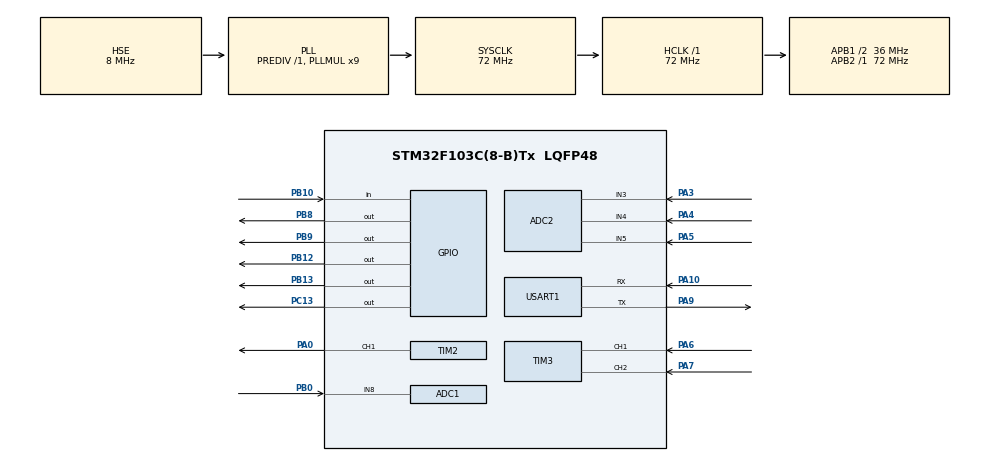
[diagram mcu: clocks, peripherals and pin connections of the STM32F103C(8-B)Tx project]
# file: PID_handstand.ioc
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ADC1.Channel-0\#ChannelRegularConversion=ADC_CHANNEL_8
ADC1.NbrOfConversionFlag=1
ADC1.Rank-0\#ChannelRegularConversion=1
ADC1.SamplingTime-0\#ChannelRegularConversion=ADC_SAMPLETIME_55CYCLES_5
ADC1.master=1
ADC2.Channel-0\#ChannelRegularConversion=ADC_CHANNEL_3
ADC2.NbrOfConversionFlag=1
ADC2.Rank-0\#ChannelRegularConversion=1
ADC2.SamplingTime-0\#ChannelRegularConversion=ADC_SAMPLETIME_55CYCLES_5
Mcu.Family=STM32F1
Mcu.Name=STM32F103C(8-B)Tx
Mcu.Package=LQFP48
NVIC.PriorityGroup=NVIC_PRIORITYGROUP_4
NVIC.TIM4_IRQn=true\:0\:0\:false\:false\:true\:true\:true\:true
PA0-WKUP.Signal=S_TIM2_CH1_ETR
PA10.Mode=Asynchronous
PA10.Signal=USART1_RX
PA13.Mode=Serial_Wire
PA13.Signal=SYS_JTMS-SWDIO
PA14.Mode=Serial_Wire
PA14.Signal=SYS_JTCK-SWCLK
PA3.Signal=ADCx_IN3
PA4.Signal=ADCx_IN4
PA5.Signal=ADCx_IN5
PA6.Signal=S_TIM3_CH1
PA7.Signal=S_TIM3_CH2
PA9.Mode=Asynchronous
PA9.Signal=USART1_TX
PB0.Signal=ADCx_IN8
PB10.GPIO_PuPd=GPIO_PULLUP
PB10.Signal=GPIO_Input
PB12.GPIO_ModeDefaultOutputPP=GPIO_MODE_OUTPUT_PP
PB12.GPIO_PuPd=GPIO_NOPULL
PB12.GPIO_Speed=GPIO_SPEED_FREQ_HIGH
PB12.PinState=GPIO_PIN_RESET
PB12.Signal=GPIO_Output
PB13.GPIO_ModeDefaultOutputPP=GPIO_MODE_OUTPUT_PP
PB13.GPIO_PuPd=GPIO_NOPULL
PB13.GPIO_Speed=GPIO_SPEED_FREQ_HIGH
PB13.PinState=GPIO_PIN_RESET
PB13.Signal=GPIO_Output
PB8.GPIO_ModeDefaultOutputPP=GPIO_MODE_OUTPUT_OD
PB8.GPIO_PuPd=GPIO_NOPULL
PB8.GPIO_Speed=GPIO_SPEED_FREQ_HIGH
PB8.PinState=GPIO_PIN_SET
PB8.Signal=GPIO_Output
PB9.GPIO_ModeDefaultOutputPP=GPIO_MODE_OUTPUT_OD
PB9.GPIO_PuPd=GPIO_NOPULL
PB9.GPIO_Speed=GPIO_SPEED_FREQ_HIGH
PB9.PinState=GPIO_PIN_RESET
PB9.Signal=GPIO_Output
PC13-TAMPER-RTC.GPIO_Speed=GPIO_SPEED_FREQ_HIGH
PC13-TAMPER-RTC.PinState=GPIO_PIN_SET
PC13-TAMPER-RTC.Signal=GPIO_Output
PD0-OSC_IN.Mode=HSE-External-Oscillator
PD0-OSC_IN.Signal=RCC_OSC_IN
PD1-OSC_OUT.Mode=HSE-External-Oscillator
PD1-OSC_OUT.Signal=RCC_OSC_OUT
ProjectManager.HeapSize=0x200
ProjectManager.StackSize=0x400
ProjectManager.TargetToolchain=CMake
RCC.ADCPresc=RCC_ADCPCLK2_DIV6
RCC.AHBFreq_Value=72000000
RCC.APB1CLKDivider=RCC_HCLK_DIV2
RCC.APB1Freq_Value=36000000
RCC.APB1TimFreq_Value=72000000
RCC.APB2Freq_Value=72000000
RCC.APB2TimFreq_Value=72000000
RCC.HCLKFreq_Value=72000000
RCC.PLLMUL=RCC_PLL_MUL9
RCC.PLLSourceVirtual=RCC_PLLSOURCE_HSE
RCC.SYSCLKFreq_VALUE=72000000
RCC.SYSCLKSource=RCC_SYSCLKSOURCE_PLLCLK
RCC.USBFreq_Value=72000000
SH.ADCx_IN3.0=ADC2_IN3,IN3
SH.ADCx_IN4.0=ADC2_IN4,IN4
SH.ADCx_IN5.0=ADC2_IN5,IN5
SH.ADCx_IN8.0=ADC1_IN8,IN8
SH.S_TIM2_CH1_ETR.0=TIM2_CH1,PWM Generation1 CH1
SH.S_TIM3_CH1.0=TIM3_CH1,Encoder_Interface
SH.S_TIM3_CH2.0=TIM3_CH2,Encoder_Interface
TIM2.AutoReloadPreload=TIM_AUTORELOAD_PRELOAD_ENABLE
TIM2.Channel-PWM\ Generation1\ CH1=TIM_CHANNEL_1
TIM2.Period=99
TIM2.Prescaler=35
TIM3.AutoReloadPreload=TIM_AUTORELOAD_PRELOAD_ENABLE
TIM3.EncoderMode=TIM_ENCODERMODE_TI12
TIM4.AutoReloadPreload=TIM_AUTORELOAD_PRELOAD_ENABLE
TIM4.Period=9
TIM4.Prescaler=7199
USART1.VirtualMode=VM_ASYNC
VP_TIM2_VS_ClockSourceINT.Mode=Internal
VP_TIM4_VS_ClockSourceINT.Mode=Internal
board=custom

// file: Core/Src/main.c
/* USER CODE BEGIN Header */
/**
  ******************************************************************************
  * @file           : main.c
  * @brief          : Main program body
  ******************************************************************************
  * @attention
  *
  * Copyright (c) 2026 STMicroelectronics.
  * All rights reserved.
  *
  * This software is licensed under terms that can be found in the LICENSE file
  * in the root directory of this software component.
  * If no LICENSE file comes with this software, it is provided AS-IS.
  *
  ******************************************************************************
  */
/* USER CODE END Header */
#include "main.h"
#include "adc.h"
#include "tim.h"
#include "usart.h"
#include "gpio.h"

/* USER CODE BEGIN Includes */
#include "OLED.h"
#include "RP.h"
#include "pid.h"
#include "key.h"
#include <stdint.h>
/* USER CODE END Includes */

/* USER CODE BEGIN PTD */
pid_struct angle_pid =
{
  .kp = 0.310,
  .ki = 0.014,
  // .kd = 0.504,
  .kd = 0.40,

  .target = angle_target,

  .output_max = 100,
  .output_min = -100,
};

pid_struct location_pid =
{
  .kp = 0,
  .ki = 0.0,
  .kd = 0,

  .target = 0,

  .output_max = 60,
  .output_min = -60,
};
/* USER CODE END PTD */

/* USER CODE BEGIN PV */
volatile uint32_t System_timer;
volatile uint32_t System_timer_angle;
volatile uint32_t System_timer_location;

volatile uint8_t  pid_flag;
/* USER CODE END PV */

void SystemClock_Config(void);

int main(void)
{

  /* MCU Configuration--------------------------------------------------------*/

  /* Reset of all peripherals, Initializes the Flash interface and the Systick. */
  HAL_Init();

  /* USER CODE BEGIN Init */
  OLED_Init();
  /* USER CODE END Init */

  /* Configure the system clock */
  SystemClock_Config();

  /* Initialize all configured peripherals */
  MX_GPIO_Init();
  MX_ADC1_Init();
  MX_ADC2_Init();
  MX_TIM2_Init();
  MX_TIM3_Init();
  MX_TIM4_Init();
  MX_USART1_UART_Init();
  /* USER CODE BEGIN 2 */
  HAL_ADCEx_Calibration_Start(&hadc1);
  HAL_ADCEx_Calibration_Start(&hadc2);
  HAL_TIM_Encoder_Start(&htim3, TIM_CHANNEL_ALL);
  HAL_TIM_PWM_Start(&htim2, TIM_CHANNEL_1);
  HAL_TIM_Base_Start_IT(&htim4);

  /* USER CODE END 2 */

  /* Infinite loop */
  /* USER CODE BEGIN WHILE */
  while (1)
  {
    location_pid.kp = (float)((RP_GetValue(2)/4095.0f)*2.0f);
    location_pid.target = (int16_t)((float)((RP_GetValue(3)/4095.0f)*816.0f - 408.0f));
    location_pid.kd = (float)((RP_GetValue(4)/4095.0f)*10.0f);

    OLED_Printf(0, 0, OLED_6X8, "Location");
    OLED_Printf(64, 0, OLED_6X8, "Angle");

    OLED_ShowFloatNum(0, 8, location_pid.kp, 1, 3, OLED_6X8);
    OLED_ShowFloatNum(0, 16, location_pid.ki, 1, 3, OLED_6X8);
    OLED_ShowFloatNum(0, 24, location_pid.kd, 1, 3, OLED_6X8);
    OLED_Printf(0, 32, OLED_6X8, "tar:%+05d", (int16_t)location_pid.target);
    OLED_Printf(0, 40, OLED_6X8, "act:%+05d", (int16_t)location_pid.actual);
    OLED_Printf(0, 48, OLED_6X8, "out:%+05d", (int16_t)location_pid.output);
     OLED_Printf(0, 56, OLED_6X8, "err:%+05d", (int16_t)location_pid.error);

    OLED_ShowFloatNum(64, 8, angle_pid.kp, 1, 3, OLED_6X8);
    OLED_ShowFloatNum(64, 16, angle_pid.ki, 1, 3, OLED_6X8);
    OLED_ShowFloatNum(64, 24, angle_pid.kd, 1, 3, OLED_6X8);
    OLED_Printf(64, 32, OLED_6X8, "tar:%+05d", (int16_t)angle_pid.target);
    OLED_Printf(64, 40, OLED_6X8, "act:%+05d", (int16_t)angle_pid.actual);
    OLED_Printf(64, 48, OLED_6X8, "out:%+05d", (int16_t)angle_pid.output);
    OLED_Update();

    if((angle_pid.actual > angle_target - 500) && (angle_pid.actual < angle_target + 500))
    {
      if(key_state() == 1)
      {
        pid_flag = 1;
        angle_pid.integral = 0;
        HAL_GPIO_WritePin(GPIOC, GPIO_PIN_13, GPIO_PIN_RESET);    //led点亮，提示进入目标角度且可以进行PID
      }
    }
    else
    {
      pid_flag = 0;
      HAL_GPIO_WritePin(GPIOC, GPIO_PIN_13, GPIO_PIN_SET);
    }

    // if((location_pid.error <= 10) && (location_pid.error >= -10))
    // {
    //   location_pid.ki = 0.001f;
    // }
    // else
    // {
    //   location_pid.ki = 0.000f;
    // }

    /* USER CODE END WHILE */

  }
}

void SystemClock_Config(void)
{
  RCC_OscInitTypeDef RCC_OscInitStruct = {0};
  RCC_ClkInitTypeDef RCC_ClkInitStruct = {0};
  RCC_PeriphCLKInitTypeDef PeriphClkInit = {0};

  /** Initializes the RCC Oscillators according to the specified parameters
  * in the RCC_OscInitTypeDef structure.
  */
  RCC_OscInitStruct.OscillatorType = RCC_OSCILLATORTYPE_HSE;
  RCC_OscInitStruct.HSEState = RCC_HSE_ON;
  RCC_OscInitStruct.HSEPredivValue = RCC_HSE_PREDIV_DIV1;
  RCC_OscInitStruct.HSIState = RCC_HSI_ON;
  RCC_OscInitStruct.PLL.PLLState = RCC_PLL_ON;
  RCC_OscInitStruct.PLL.PLLSource = RCC_PLLSOURCE_HSE;
  RCC_OscInitStruct.PLL.PLLMUL = RCC_PLL_MUL9;
  if (HAL_RCC_OscConfig(&RCC_OscInitStruct) != HAL_OK)
  {
    Error_Handler();
  }

  /** Initializes the CPU, AHB and APB buses clocks
  */
  RCC_ClkInitStruct.ClockType = RCC_CLOCKTYPE_HCLK|RCC_CLOCKTYPE_SYSCLK
                              |RCC_CLOCKTYPE_PCLK1|RCC_CLOCKTYPE_PCLK2;
  RCC_ClkInitStruct.SYSCLKSource = RCC_SYSCLKSOURCE_PLLCLK;
  RCC_ClkInitStruct.AHBCLKDivider = RCC_SYSCLK_DIV1;
  RCC_ClkInitStruct.APB1CLKDivider = RCC_HCLK_DIV2;
  RCC_ClkInitStruct.APB2CLKDivider = RCC_HCLK_DIV1;

  if (HAL_RCC_ClockConfig(&RCC_ClkInitStruct, FLASH_LATENCY_2) != HAL_OK)
  {
    Error_Handler();
  }
  PeriphClkInit.PeriphClockSelection = RCC_PERIPHCLK_ADC;
  PeriphClkInit.AdcClockSelection = RCC_ADCPCLK2_DIV6;
  if (HAL_RCCEx_PeriphCLKConfig(&PeriphClkInit) != HAL_OK)
  {
    Error_Handler();
  }
}

void Error_Handler(void)
{
  __disable_irq();
  while (1)
  {
  }
}
